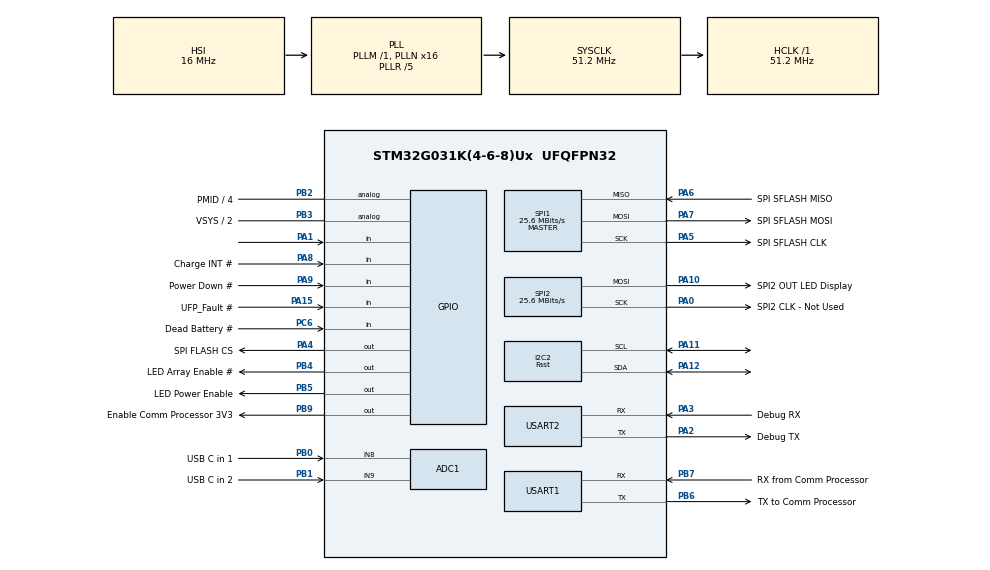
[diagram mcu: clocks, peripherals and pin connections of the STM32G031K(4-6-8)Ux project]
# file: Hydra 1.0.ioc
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ADC1.Channel-0\#ChannelRegularConversion=ADC_CHANNEL_8
ADC1.NbrOfConversionFlag=1
ADC1.Rank-0\#ChannelRegularConversion=1
ADC1.SamplingTime-0\#ChannelRegularConversion=ADC_SAMPLINGTIME_COMMON_1
ADC1.master=1
CRC.DefaultInitValueUse=DEFAULT_INIT_VALUE_DISABLE
CRC.InputDataFormat=CRC_INPUTDATA_FORMAT_WORDS
Dma.Request0=SPI2_TX
Dma.SPI2_TX.0.Direction=DMA_MEMORY_TO_PERIPH
Dma.SPI2_TX.0.EventEnable=DISABLE
Dma.SPI2_TX.0.Instance=DMA1_Channel1
Dma.SPI2_TX.0.MemDataAlignment=DMA_MDATAALIGN_BYTE
Dma.SPI2_TX.0.MemInc=DMA_MINC_ENABLE
Dma.SPI2_TX.0.Mode=DMA_NORMAL
Dma.SPI2_TX.0.PeriphDataAlignment=DMA_PDATAALIGN_BYTE
Dma.SPI2_TX.0.PeriphInc=DMA_PINC_DISABLE
Dma.SPI2_TX.0.Polarity=HAL_DMAMUX_REQ_GEN_RISING
Dma.SPI2_TX.0.Priority=DMA_PRIORITY_LOW
Dma.SPI2_TX.0.RequestNumber=1
Dma.SPI2_TX.0.SignalID=NONE
Dma.SPI2_TX.0.SyncEnable=DISABLE
Dma.SPI2_TX.0.SyncPolarity=HAL_DMAMUX_SYNC_NO_EVENT
Dma.SPI2_TX.0.SyncRequestNumber=1
Dma.SPI2_TX.0.SyncSignalID=NONE
I2C2.I2C_Speed_Mode=I2C_Fast
I2C2.NoStretchMode=I2C_NOSTRETCH_DISABLE
I2C2.Timing=0x00501A5B
Mcu.Family=STM32G0
Mcu.Name=STM32G031K(4-6-8)Ux
Mcu.Package=UFQFPN32
NVIC.DMA1_Channel1_IRQn=true\:0\:0\:false\:false\:true\:false\:true
PA0.GPIO_Label=SPI2 CLK - Not Used
PA0.Mode=TX_Only_Simplex_Unidirect_Master
PA0.Signal=SPI2_SCK
PA1.Signal=GPIO_Input
PA10.GPIO_Label=SPI2 OUT LED Display
PA10.Mode=TX_Only_Simplex_Unidirect_Master
PA10.Signal=SPI2_MOSI
PA11\ [PA9].Mode=I2C
PA11\ [PA9].Signal=I2C2_SCL
PA12\ [PA10].Mode=I2C
PA12\ [PA10].Signal=I2C2_SDA
PA13.Mode=Serial_Wire
PA13.Signal=SYS_SWDIO
PA14-BOOT0.Mode=Serial_Wire
PA14-BOOT0.Signal=SYS_SWCLK
PA15.GPIO_Label=UFP_Fault \#
PA15.Signal=GPIO_Input
PA2.GPIO_Label=Debug TX
PA2.Mode=Asynchronous
PA2.Signal=USART2_TX
PA3.GPIO_Label=Debug RX
PA3.Mode=Asynchronous
PA3.Signal=USART2_RX
PA4.GPIO_Label=SPI FLASH CS
PA4.GPIO_Speed=GPIO_SPEED_FREQ_HIGH
PA4.PinState=GPIO_PIN_SET
PA4.Signal=GPIO_Output
PA5.GPIO_Label=SPI SFLASH CLK
PA5.Mode=Full_Duplex_Master
PA5.Signal=SPI1_SCK
PA6.GPIO_Label=SPI SFLASH MISO
PA6.Mode=Full_Duplex_Master
PA6.Signal=SPI1_MISO
PA7.GPIO_Label=SPI SFLASH MOSI
PA7.Mode=Full_Duplex_Master
PA7.Signal=SPI1_MOSI
PA8.GPIO_Label=Charge INT \#
PA8.Signal=GPIO_Input
PA9.GPIO_Label=Power Down \#
PA9.Signal=GPIO_Input
PB0.GPIO_Label=USB C in 1
PB0.Mode=IN8
PB0.Signal=ADC1_IN8
PB1.GPIO_Label=USB C in 2
PB1.Mode=IN9
PB1.Signal=ADC1_IN9
PB2.GPIO_Label=PMID / 4
PB2.Signal=GPIO_Analog
PB3.GPIO_Label=VSYS / 2
PB3.Signal=GPIO_Analog
PB4.GPIO_Label=LED Array Enable \#
PB4.Signal=GPIO_Output
PB5.GPIO_Label=LED Power Enable
PB5.Signal=GPIO_Output
PB6.GPIO_Label=TX to Comm Processor
PB6.Mode=Asynchronous
PB6.Signal=USART1_TX
PB7.GPIO_Label=RX from Comm Processor
PB7.Mode=Asynchronous
PB7.Signal=USART1_RX
PB8.GPIO_Label=Beeper
PB8.Signal=S_TIM16_CH1
PB9.GPIO_Label=Enable Comm Processor 3V3
PB9.Signal=GPIO_Output
PC6.GPIO_Label=Dead Battery \#
PC6.Signal=GPIO_Input
ProjectManager.HeapSize=0x200
ProjectManager.StackSize=0x400
ProjectManager.TargetToolchain=STM32CubeIDE
RCC.ADCFreq_Value=51200000
RCC.AHBFreq_Value=51200000
RCC.CortexFreq_Value=51200000
RCC.EXTERNAL_CLOCK_VALUE=12288000
RCC.HCLKFreq_Value=51200000
RCC.HSE_VALUE=8000000
RCC.HSI_VALUE=16000000
RCC.LSE_VALUE=32768
RCC.PLLN=16
RCC.PLLR=RCC_PLLR_DIV5
RCC.SYSCLKFreq_VALUE=51200000
RCC.SYSCLKSource=RCC_SYSCLKSOURCE_PLLCLK
RCC.VCOOutputFreq_Value=256000000
SH.S_TIM16_CH1.0=TIM16_CH1
SPI1.BaudRatePrescaler=SPI_BAUDRATEPRESCALER_2
SPI1.CalculateBaudRate=25.6 MBits/s
SPI1.Direction=SPI_DIRECTION_2LINES
SPI1.Mode=SPI_MODE_MASTER
SPI1.NSSPMode=SPI_NSS_PULSE_DISABLE
SPI1.VirtualType=VM_MASTER
SPI2.BaudRatePrescaler=SPI_BAUDRATEPRESCALER_2
SPI2.CalculateBaudRate=25.6 MBits/s
SPI2.Direction=SPI_DIRECTION_2LINES
SPI2.FirstBit=SPI_FIRSTBIT_LSB
SPI2.Mode=SPI_MODE_MASTER
SPI2.VirtualType=VM_MASTER
USART1.VirtualMode-Asynchronous=VM_ASYNC
USART2.VirtualMode-Asynchronous=VM_ASYNC
VP_CRC_VS_CRC.Mode=CRC_Activate
VP_RTC_VS_RTC_Activate.Mode=RTC_Enabled
VP_RTC_VS_RTC_Calendar.Mode=RTC_Calendar
board=custom

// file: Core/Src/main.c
/* USER CODE BEGIN Header */
/**
  ******************************************************************************
  * @file           : main.c
  * @brief          : Main program body
  ******************************************************************************
  * @attention
  *
  * <h2><center>&copy; Copyright (c) 2020 STMicroelectronics.
  * All rights reserved.</center></h2>
  *
  * This software component is licensed by ST under BSD 3-Clause license,
  * the "License"; You may not use this file except in compliance with the
  * License. You may obtain a copy of the License at:
  *                        opensource.org/licenses/BSD-3-Clause
  *
  ******************************************************************************
  */
/* USER CODE END Header */

#include "main.h"

/* USER CODE BEGIN Includes */
#include <stdio.h>

#include "structs.h"
#include "leds.h"
#include "init.h"
#include "i2c_manager.h"
/* USER CODE END Includes */

ADC_HandleTypeDef hadc1;

CRC_HandleTypeDef hcrc;

I2C_HandleTypeDef hi2c2;

RTC_HandleTypeDef hrtc;

SPI_HandleTypeDef hspi1;
SPI_HandleTypeDef hspi2;
DMA_HandleTypeDef hdma_spi2_tx;

UART_HandleTypeDef huart1;
UART_HandleTypeDef huart2;

void SystemClock_Config(void);
static void MX_GPIO_Init(void);
static void MX_DMA_Init(void);
static void MX_I2C2_Init(void);
static void MX_RTC_Init(void);
static void MX_SPI1_Init(void);
static void MX_SPI2_Init(void);
static void MX_USART1_UART_Init(void);
static void MX_USART2_UART_Init(void);
static void MX_ADC1_Init(void);
static void MX_CRC_Init(void);
/* USER CODE BEGIN PFP */
#ifdef __GNUC__
/* With GCC, small printf (option LD Linker->Libraries->Small printf
   set to 'Yes') calls __io_putchar() */
#define PUTCHAR_PROTOTYPE int __io_putchar(int ch)
#else
#define PUTCHAR_PROTOTYPE int fputc(int ch, FILE *f)
#endif /* __GNUC__ */

/* USER CODE END PFP */

/* USER CODE BEGIN 0 */
hydra_status_t hs;
/* USER CODE END 0 */

int main(void)
{
  /* USER CODE BEGIN 1 */
	uint32_t current_time;
  /* USER CODE END 1 */

  /* MCU Configuration--------------------------------------------------------*/

  /* Reset of all peripherals, Initializes the Flash interface and the Systick. */
  HAL_Init();

  /* Configure the system clock */
  SystemClock_Config();

  /* Initialize all configured peripherals */
  MX_GPIO_Init();
  MX_DMA_Init();
  MX_I2C2_Init();
  MX_RTC_Init();
  MX_SPI1_Init();
  MX_SPI2_Init();
  MX_USART1_UART_Init();
  MX_USART2_UART_Init();
  MX_ADC1_Init();
  MX_CRC_Init();
  /* USER CODE BEGIN 2 */
  printf( "Hydra Management Processor Running\r\n" );
  system_init();
  /* USER CODE END 2 */

  /* Infinite loop */
  while (1)
  {

    /* USER CODE BEGIN 3 */
		current_time = HAL_GetTick();
		/*
		 * Operate each module as a state machine so that they can perform different small tasks each time
		 */
		// process_wifi_module();

		i2c_sensor_process( current_time );
		process_led_display( current_time );
		// process_switch();
  }
  /* USER CODE END 3 */
}

void SystemClock_Config(void)
{
  RCC_OscInitTypeDef RCC_OscInitStruct = {0};
  RCC_ClkInitTypeDef RCC_ClkInitStruct = {0};
  RCC_PeriphCLKInitTypeDef PeriphClkInit = {0};

  /** Configure the main internal regulator output voltage
  */
  HAL_PWREx_ControlVoltageScaling(PWR_REGULATOR_VOLTAGE_SCALE1);
  /** Initializes the CPU, AHB and APB busses clocks
  */
  RCC_OscInitStruct.OscillatorType = RCC_OSCILLATORTYPE_HSI|RCC_OSCILLATORTYPE_LSI;
  RCC_OscInitStruct.HSIState = RCC_HSI_ON;
  RCC_OscInitStruct.HSIDiv = RCC_HSI_DIV1;
  RCC_OscInitStruct.HSICalibrationValue = RCC_HSICALIBRATION_DEFAULT;
  RCC_OscInitStruct.LSIState = RCC_LSI_ON;
  RCC_OscInitStruct.PLL.PLLState = RCC_PLL_ON;
  RCC_OscInitStruct.PLL.PLLSource = RCC_PLLSOURCE_HSI;
  RCC_OscInitStruct.PLL.PLLM = RCC_PLLM_DIV1;
  RCC_OscInitStruct.PLL.PLLN = 16;
  RCC_OscInitStruct.PLL.PLLP = RCC_PLLP_DIV2;
  RCC_OscInitStruct.PLL.PLLQ = RCC_PLLQ_DIV2;
  RCC_OscInitStruct.PLL.PLLR = RCC_PLLR_DIV5;
  if (HAL_RCC_OscConfig(&RCC_OscInitStruct) != HAL_OK)
  {
    Error_Handler();
  }
  /** Initializes the CPU, AHB and APB busses clocks
  */
  RCC_ClkInitStruct.ClockType = RCC_CLOCKTYPE_HCLK|RCC_CLOCKTYPE_SYSCLK
                              |RCC_CLOCKTYPE_PCLK1;
  RCC_ClkInitStruct.SYSCLKSource = RCC_SYSCLKSOURCE_PLLCLK;
  RCC_ClkInitStruct.AHBCLKDivider = RCC_SYSCLK_DIV1;
  RCC_ClkInitStruct.APB1CLKDivider = RCC_HCLK_DIV1;

  if (HAL_RCC_ClockConfig(&RCC_ClkInitStruct, FLASH_LATENCY_2) != HAL_OK)
  {
    Error_Handler();
  }
  /** Initializes the peripherals clocks
  */
  PeriphClkInit.PeriphClockSelection = RCC_PERIPHCLK_RTC|RCC_PERIPHCLK_USART1
                              |RCC_PERIPHCLK_ADC;
  PeriphClkInit.Usart1ClockSelection = RCC_USART1CLKSOURCE_PCLK1;
  PeriphClkInit.AdcClockSelection = RCC_ADCCLKSOURCE_SYSCLK;
  PeriphClkInit.RTCClockSelection = RCC_RTCCLKSOURCE_LSI;

  if (HAL_RCCEx_PeriphCLKConfig(&PeriphClkInit) != HAL_OK)
  {
    Error_Handler();
  }
}

static void MX_ADC1_Init(void)
{

  ADC_ChannelConfTypeDef sConfig = {0};

  /** Configure the global features of the ADC (Clock, Resolution, Data Alignment and number of conversion)
  */
  hadc1.Instance = ADC1;
  hadc1.Init.ClockPrescaler = ADC_CLOCK_SYNC_PCLK_DIV2;
  hadc1.Init.Resolution = ADC_RESOLUTION_12B;
  hadc1.Init.DataAlign = ADC_DATAALIGN_RIGHT;
  hadc1.Init.ScanConvMode = ADC_SCAN_DISABLE;
  hadc1.Init.EOCSelection = ADC_EOC_SINGLE_CONV;
  hadc1.Init.LowPowerAutoWait = DISABLE;
  hadc1.Init.LowPowerAutoPowerOff = DISABLE;
  hadc1.Init.ContinuousConvMode = DISABLE;
  hadc1.Init.NbrOfConversion = 1;
  hadc1.Init.DiscontinuousConvMode = DISABLE;
  hadc1.Init.ExternalTrigConv = ADC_SOFTWARE_START;
  hadc1.Init.ExternalTrigConvEdge = ADC_EXTERNALTRIGCONVEDGE_NONE;
  hadc1.Init.DMAContinuousRequests = DISABLE;
  hadc1.Init.Overrun = ADC_OVR_DATA_PRESERVED;
  hadc1.Init.SamplingTimeCommon1 = ADC_SAMPLETIME_1CYCLE_5;
  hadc1.Init.SamplingTimeCommon2 = ADC_SAMPLETIME_1CYCLE_5;
  hadc1.Init.OversamplingMode = DISABLE;
  hadc1.Init.TriggerFrequencyMode = ADC_TRIGGER_FREQ_HIGH;
  if (HAL_ADC_Init(&hadc1) != HAL_OK)
  {
    Error_Handler();
  }
  /** Configure Regular Channel
  */
  sConfig.Channel = ADC_CHANNEL_8;
  sConfig.Rank = ADC_REGULAR_RANK_1;
  sConfig.SamplingTime = ADC_SAMPLINGTIME_COMMON_1;
  if (HAL_ADC_ConfigChannel(&hadc1, &sConfig) != HAL_OK)
  {
    Error_Handler();
  }

}

static void MX_CRC_Init(void)
{

  hcrc.Instance = CRC;
  hcrc.Init.DefaultPolynomialUse = DEFAULT_POLYNOMIAL_ENABLE;
  hcrc.Init.DefaultInitValueUse = DEFAULT_INIT_VALUE_DISABLE;
  hcrc.Init.InitValue = 0;
  hcrc.Init.InputDataInversionMode = CRC_INPUTDATA_INVERSION_NONE;
  hcrc.Init.OutputDataInversionMode = CRC_OUTPUTDATA_INVERSION_DISABLE;
  hcrc.InputDataFormat = CRC_INPUTDATA_FORMAT_WORDS;
  if (HAL_CRC_Init(&hcrc) != HAL_OK)
  {
    Error_Handler();
  }

}

static void MX_I2C2_Init(void)
{

  hi2c2.Instance = I2C2;
  hi2c2.Init.Timing = 0x00501A5B;
  hi2c2.Init.OwnAddress1 = 0;
  hi2c2.Init.AddressingMode = I2C_ADDRESSINGMODE_7BIT;
  hi2c2.Init.DualAddressMode = I2C_DUALADDRESS_DISABLE;
  hi2c2.Init.OwnAddress2 = 0;
  hi2c2.Init.OwnAddress2Masks = I2C_OA2_NOMASK;
  hi2c2.Init.GeneralCallMode = I2C_GENERALCALL_DISABLE;
  hi2c2.Init.NoStretchMode = I2C_NOSTRETCH_DISABLE;
  if (HAL_I2C_Init(&hi2c2) != HAL_OK)
  {
    Error_Handler();
  }
  /** Configure Analogue filter
  */
  if (HAL_I2CEx_ConfigAnalogFilter(&hi2c2, I2C_ANALOGFILTER_ENABLE) != HAL_OK)
  {
    Error_Handler();
  }
  /** Configure Digital filter
  */
  if (HAL_I2CEx_ConfigDigitalFilter(&hi2c2, 0) != HAL_OK)
  {
    Error_Handler();
  }

}

static void MX_RTC_Init(void)
{

  RTC_TimeTypeDef sTime = {0};
  RTC_DateTypeDef sDate = {0};

  /** Initialize RTC Only
  */
  hrtc.Instance = RTC;
  hrtc.Init.HourFormat = RTC_HOURFORMAT_24;
  hrtc.Init.AsynchPrediv = 127;
  hrtc.Init.SynchPrediv = 255;
  hrtc.Init.OutPut = RTC_OUTPUT_DISABLE;
  hrtc.Init.OutPutRemap = RTC_OUTPUT_REMAP_NONE;
  hrtc.Init.OutPutPolarity = RTC_OUTPUT_POLARITY_HIGH;
  hrtc.Init.OutPutType = RTC_OUTPUT_TYPE_OPENDRAIN;
  hrtc.Init.OutPutPullUp = RTC_OUTPUT_PULLUP_NONE;
  if (HAL_RTC_Init(&hrtc) != HAL_OK)
  {
    Error_Handler();
  }

  /** Initialize RTC and set the Time and Date
  */
  sTime.Hours = 0x0;
  sTime.Minutes = 0x0;
  sTime.Seconds = 0x0;
  sTime.SubSeconds = 0x0;
  sTime.DayLightSaving = RTC_DAYLIGHTSAVING_NONE;
  sTime.StoreOperation = RTC_STOREOPERATION_RESET;
  if (HAL_RTC_SetTime(&hrtc, &sTime, RTC_FORMAT_BCD) != HAL_OK)
  {
    Error_Handler();
  }
  sDate.WeekDay = RTC_WEEKDAY_MONDAY;
  sDate.Month = RTC_MONTH_JANUARY;
  sDate.Date = 0x1;
  sDate.Year = 0x0;

  if (HAL_RTC_SetDate(&hrtc, &sDate, RTC_FORMAT_BCD) != HAL_OK)
  {
    Error_Handler();
  }

}

static void MX_SPI1_Init(void)
{

  /* SPI1 parameter configuration*/
  hspi1.Instance = SPI1;
  hspi1.Init.Mode = SPI_MODE_MASTER;
  hspi1.Init.Direction = SPI_DIRECTION_2LINES;
  hspi1.Init.DataSize = SPI_DATASIZE_8BIT;
  hspi1.Init.CLKPolarity = SPI_POLARITY_LOW;
  hspi1.Init.CLKPhase = SPI_PHASE_1EDGE;
  hspi1.Init.NSS = SPI_NSS_SOFT;
  hspi1.Init.BaudRatePrescaler = SPI_BAUDRATEPRESCALER_2;
  hspi1.Init.FirstBit = SPI_FIRSTBIT_MSB;
  hspi1.Init.TIMode = SPI_TIMODE_DISABLE;
  hspi1.Init.CRCCalculation = SPI_CRCCALCULATION_DISABLE;
  hspi1.Init.CRCPolynomial = 7;
  hspi1.Init.CRCLength = SPI_CRC_LENGTH_DATASIZE;
  hspi1.Init.NSSPMode = SPI_NSS_PULSE_DISABLE;
  if (HAL_SPI_Init(&hspi1) != HAL_OK)
  {
    Error_Handler();
  }

}

static void MX_SPI2_Init(void)
{

  /* SPI2 parameter configuration*/
  hspi2.Instance = SPI2;
  hspi2.Init.Mode = SPI_MODE_MASTER;
  hspi2.Init.Direction = SPI_DIRECTION_2LINES;
  hspi2.Init.DataSize = SPI_DATASIZE_8BIT;
  hspi2.Init.CLKPolarity = SPI_POLARITY_LOW;
  hspi2.Init.CLKPhase = SPI_PHASE_1EDGE;
  hspi2.Init.NSS = SPI_NSS_SOFT;
  hspi2.Init.BaudRatePrescaler = SPI_BAUDRATEPRESCALER_2;
  hspi2.Init.FirstBit = SPI_FIRSTBIT_LSB;
  hspi2.Init.TIMode = SPI_TIMODE_DISABLE;
  hspi2.Init.CRCCalculation = SPI_CRCCALCULATION_DISABLE;
  hspi2.Init.CRCPolynomial = 7;
  hspi2.Init.CRCLength = SPI_CRC_LENGTH_DATASIZE;
  hspi2.Init.NSSPMode = SPI_NSS_PULSE_ENABLE;
  if (HAL_SPI_Init(&hspi2) != HAL_OK)
  {
    Error_Handler();
  }

}

static void MX_USART1_UART_Init(void)
{

  huart1.Instance = USART1;
  huart1.Init.BaudRate = 115200;
  huart1.Init.WordLength = UART_WORDLENGTH_8B;
  huart1.Init.StopBits = UART_STOPBITS_1;
  huart1.Init.Parity = UART_PARITY_NONE;
  huart1.Init.Mode = UART_MODE_TX_RX;
  huart1.Init.HwFlowCtl = UART_HWCONTROL_NONE;
  huart1.Init.OverSampling = UART_OVERSAMPLING_16;
  huart1.Init.OneBitSampling = UART_ONE_BIT_SAMPLE_DISABLE;
  huart1.Init.ClockPrescaler = UART_PRESCALER_DIV1;
  huart1.AdvancedInit.AdvFeatureInit = UART_ADVFEATURE_NO_INIT;
  if (HAL_UART_Init(&huart1) != HAL_OK)
  {
    Error_Handler();
  }
  if (HAL_UARTEx_SetTxFifoThreshold(&huart1, UART_TXFIFO_THRESHOLD_1_8) != HAL_OK)
  {
    Error_Handler();
  }
  if (HAL_UARTEx_SetRxFifoThreshold(&huart1, UART_RXFIFO_THRESHOLD_1_8) != HAL_OK)
  {
    Error_Handler();
  }
  if (HAL_UARTEx_DisableFifoMode(&huart1) != HAL_OK)
  {
    Error_Handler();
  }

}

static void MX_USART2_UART_Init(void)
{

  huart2.Instance = USART2;
  huart2.Init.BaudRate = 115200;
  huart2.Init.WordLength = UART_WORDLENGTH_8B;
  huart2.Init.StopBits = UART_STOPBITS_1;
  huart2.Init.Parity = UART_PARITY_NONE;
  huart2.Init.Mode = UART_MODE_TX_RX;
  huart2.Init.HwFlowCtl = UART_HWCONTROL_NONE;
  huart2.Init.OverSampling = UART_OVERSAMPLING_16;
  huart2.Init.OneBitSampling = UART_ONE_BIT_SAMPLE_DISABLE;
  huart2.Init.ClockPrescaler = UART_PRESCALER_DIV1;
  huart2.AdvancedInit.AdvFeatureInit = UART_ADVFEATURE_NO_INIT;
  if (HAL_UART_Init(&huart2) != HAL_OK)
  {
    Error_Handler();
  }

}

static void MX_DMA_Init(void)
{

  /* DMA controller clock enable */
  __HAL_RCC_DMA1_CLK_ENABLE();

  /* DMA interrupt init */
  /* DMA1_Channel1_IRQn interrupt configuration */
  HAL_NVIC_SetPriority(DMA1_Channel1_IRQn, 0, 0);
  HAL_NVIC_EnableIRQ(DMA1_Channel1_IRQn);

}

static void MX_GPIO_Init(void)
{
  GPIO_InitTypeDef GPIO_InitStruct = {0};

  /* GPIO Ports Clock Enable */
  __HAL_RCC_GPIOB_CLK_ENABLE();
  __HAL_RCC_GPIOA_CLK_ENABLE();
  __HAL_RCC_GPIOC_CLK_ENABLE();

  /*Configure GPIO pin Output Level */
  HAL_GPIO_WritePin(GPIOB, Enable_Comm_Processor_3V3_Pin|LED_Array_Enable___Pin|LED_Power_Enable_Pin, GPIO_PIN_RESET);

  /*Configure GPIO pin Output Level */
  HAL_GPIO_WritePin(SPI_FLASH_CS_GPIO_Port, SPI_FLASH_CS_Pin, GPIO_PIN_SET);

  /*Configure GPIO pins : Enable_Comm_Processor_3V3_Pin LED_Array_Enable___Pin LED_Power_Enable_Pin */
  GPIO_InitStruct.Pin = Enable_Comm_Processor_3V3_Pin|LED_Array_Enable___Pin|LED_Power_Enable_Pin;
  GPIO_InitStruct.Mode = GPIO_MODE_OUTPUT_PP;
  GPIO_InitStruct.Pull = GPIO_NOPULL;
  GPIO_InitStruct.Speed = GPIO_SPEED_FREQ_LOW;
  HAL_GPIO_Init(GPIOB, &GPIO_InitStruct);

  /*Configure GPIO pins : PA1 Charge_INT___Pin Power_Down___Pin UFP_Fault___Pin */
  GPIO_InitStruct.Pin = GPIO_PIN_1|Charge_INT___Pin|Power_Down___Pin|UFP_Fault___Pin;
  GPIO_InitStruct.Mode = GPIO_MODE_INPUT;
  GPIO_InitStruct.Pull = GPIO_NOPULL;
  HAL_GPIO_Init(GPIOA, &GPIO_InitStruct);

  /*Configure GPIO pin : SPI_FLASH_CS_Pin */
  GPIO_InitStruct.Pin = SPI_FLASH_CS_Pin;
  GPIO_InitStruct.Mode = GPIO_MODE_OUTPUT_PP;
  GPIO_InitStruct.Pull = GPIO_NOPULL;
  GPIO_InitStruct.Speed = GPIO_SPEED_FREQ_HIGH;
  HAL_GPIO_Init(SPI_FLASH_CS_GPIO_Port, &GPIO_InitStruct);

  /*Configure GPIO pins : PMID___4_Pin VSYS___2_Pin */
  GPIO_InitStruct.Pin = PMID___4_Pin|VSYS___2_Pin;
  GPIO_InitStruct.Mode = GPIO_MODE_ANALOG;
  GPIO_InitStruct.Pull = GPIO_NOPULL;
  HAL_GPIO_Init(GPIOB, &GPIO_InitStruct);

  /*Configure GPIO pin : Dead_Battery___Pin */
  GPIO_InitStruct.Pin = Dead_Battery___Pin;
  GPIO_InitStruct.Mode = GPIO_MODE_INPUT;
  GPIO_InitStruct.Pull = GPIO_NOPULL;
  HAL_GPIO_Init(Dead_Battery___GPIO_Port, &GPIO_InitStruct);

  /*Configure GPIO pin : Beeper_Pin */
  GPIO_InitStruct.Pin = Beeper_Pin;
  GPIO_InitStruct.Mode = GPIO_MODE_AF_PP;
  GPIO_InitStruct.Pull = GPIO_NOPULL;
  GPIO_InitStruct.Speed = GPIO_SPEED_FREQ_LOW;
  GPIO_InitStruct.Alternate = GPIO_AF2_TIM16;
  HAL_GPIO_Init(Beeper_GPIO_Port, &GPIO_InitStruct);

}

/* USER CODE BEGIN 4 */
/**
  * @brief  Retargets the C library printf function to the USART.
  * @param  None
  * @retval None
  */
PUTCHAR_PROTOTYPE
{
  /* Place your implementation of fputc here */
  /* e.g. write a character to the USART2 and Loop until the end of transmission */
  HAL_UART_Transmit(&huart2, (uint8_t *)&ch, 1, 0xFFFF);

  return ch;
}

/* USER CODE END 4 */

void Error_Handler(void)
{
}

/************************ (C) COPYRIGHT STMicroelectronics *****END OF FILE****/
